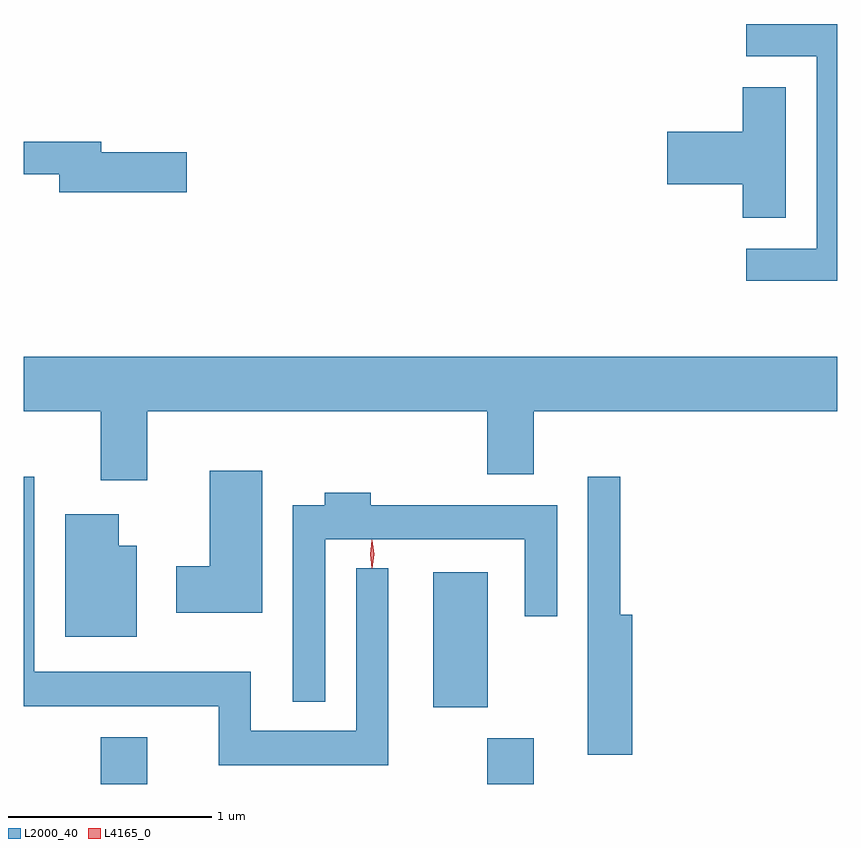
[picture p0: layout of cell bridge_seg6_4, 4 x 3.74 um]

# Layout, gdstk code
import gdstk
lib = gdstk.Library(unit=1e-6, precision=1e-09)
def R(c, l, rs):  # rectangles x0, y0, x1, y1
    for r in rs: c.add(gdstk.rectangle(r[:2], r[2:], *l))
def P(c, l, *ps):  # polygons
    for p in ps: c.add(gdstk.Polygon(p, *l))
L2000_40 = (2000, 40)
L4165_0 = (4165, 0)

bridge_seg6_4 = lib.new_cell('bridge_seg6_4')
R(bridge_seg6_4, L2000_40, [(1465.701,1634.783,1465.929,1635.014), (1467.601,1634.783,1467.829,1635.009), (1467.336,1635.161,1467.604,1635.824)])
P(bridge_seg6_4, L2000_40, [(1469.322,1638.519),(1468.873,1638.519),(1468.873,1638.361),(1469.221,1638.361),(1469.221,1637.414),(1468.873,1637.414),(1468.873,1637.256),(1469.322,1637.256)],
  [(1469.069,1638.209),(1468.856,1638.209),(1468.856,1637.989),(1468.486,1637.989),(1468.486,1637.731),(1468.856,1637.731),(1468.856,1637.566),(1469.069,1637.566)],
  [(1466.124,1637.889),(1465.704,1637.889),(1465.704,1637.939),(1465.322,1637.939),(1465.322,1637.781),(1465.496,1637.781),(1465.496,1637.691),(1466.124,1637.691)],
  [(1465.929,1636.616),(1467.601,1636.616),(1467.601,1636.306),(1467.829,1636.306),(1467.829,1636.616),(1469.322,1636.616),(1469.322,1636.884),(1465.322,1636.884),(1465.322,1636.616),(1465.701,1636.616),(1465.701,1636.276),(1465.929,1636.276)],
  [(1466.494,1636.324),(1466.236,1636.324),(1466.236,1635.854),(1466.071,1635.854),(1466.071,1635.626),(1466.494,1635.626)],
  [(1467.114,1635.843),(1466.956,1635.843),(1466.956,1635.044),(1466.439,1635.044),(1466.439,1635.334),(1465.374,1635.334),(1465.374,1636.293),(1465.322,1636.293),(1465.322,1635.166),(1466.281,1635.166),(1466.281,1634.876),(1467.114,1634.876)],
  [(1468.314,1635.614),(1468.254,1635.614),(1468.254,1636.293),(1468.096,1636.293),(1468.096,1634.926),(1468.314,1634.926)],
  [(1466.804,1635.986),(1467.786,1635.986),(1467.786,1635.608),(1467.944,1635.608),(1467.944,1636.154),(1467.029,1636.154),(1467.029,1636.214),(1466.801,1636.214),(1466.801,1636.154),(1466.646,1636.154),(1466.646,1635.188),(1466.804,1635.188)],
  [(1465.879,1635.954),(1465.789,1635.954),(1465.789,1636.109),(1465.526,1636.109),(1465.526,1635.506),(1465.879,1635.506)])
P(bridge_seg6_4, L4165_0, [(1467.035,1635.843),(1467.034,1635.844),(1467.025,1635.913),(1467.034,1635.982),(1467.034,1635.983),(1467.035,1635.982),(1467.045,1635.913),(1467.035,1635.844)])

lib.write_gds('bridge_seg6_4.gds')
